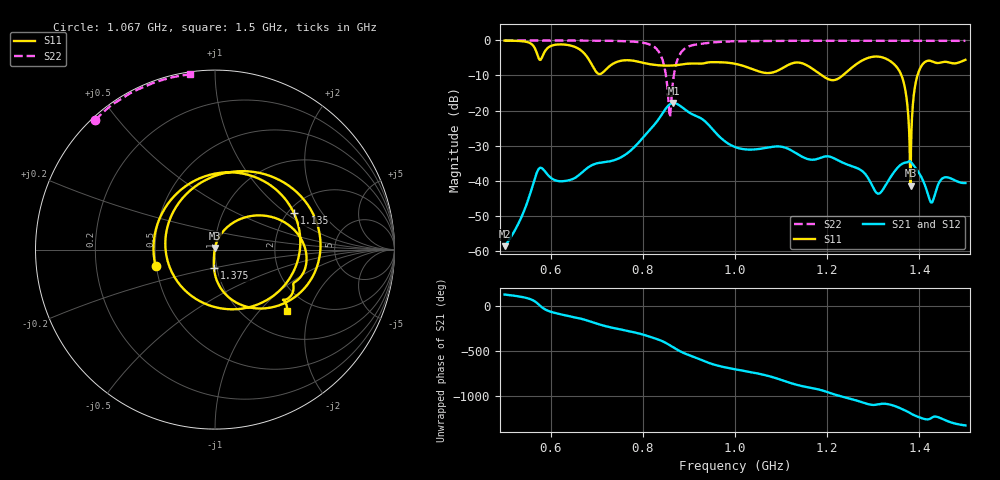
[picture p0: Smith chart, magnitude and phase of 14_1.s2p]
! TOUCHSTONE file generated by CST MICROWAVE STUDIO
! Date and time: Sat Nov 14 20:36:06 2020
! Project name: Scenario_1_Planar_Body_Tissue_Out_of_Line_v2.cst
! Parameters = {dy1=121.1; L_HA=400; Ltissue=700; MT=2.54; Rad_Dielectric=30; Rad_Lower=7.3; Rad_Upper=30; Wtissue=700; a_HA=580; a_WG=246; b_HA=500; b_WG=121; c_HA=0; c_WG=187; d_feed=85; dx1=173; h_feed=15; h_lower=18; h_upper=40; hfat=3; hgap=25; hmuscle=50; hskin=1.5}
! Header version: 2018
! Port assignment regex: !\s*Touchstone port\s*([0-9]+)\s*=\s*(CST MWS port|CST DS port)\s*([0-9]+|Zmin|Zmax)\s*\(\"(.*)\"\)(\s*mode\s*([0-9]+))?.*
! Touchstone port assignment:
! Touchstone port 1 = CST MWS port 1 ("")
! Touchstone port 2 = CST MWS port 2 ("")
# GHz S DB R 50
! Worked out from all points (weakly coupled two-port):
!   1003 points, 500 MHz to 1.5 GHz, reference 50 ohm
!   highest |S21| = -17.86 dB at 866.5 MHz (marker M1); lowest = -58.7 dB at 500 MHz (marker M2)
!   lowest |S11| = -41.4 dB at 1.381 GHz (marker M3), VSWR 1.02, Z = 50 + j0.849 ohm
!   |S11| at or under -10 dB: 1.189 GHz to 1.234 GHz (45.09 MHz wide, 3.72 % of centre); 1.361 GHz to 1.396 GHz (34.62 MHz wide, 2.51 % of centre)
!   |S22| runs from -21.9 to 0.0 dB; largest |S21 - S12| = 1.2e-05
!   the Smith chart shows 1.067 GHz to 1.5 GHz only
!   S11 on the Smith chart (normalised r, x): 1.067 GHz: 0.50, -0.10; 1.135 GHz: 2.16, +1.14; 1.375 GHz: 0.97, -0.20; 1.5 GHz: 1.52, -1.44
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0.5  -0.05 -121.8  -58.71 129.5  -58.71 129.5  -0.01 151.2
0.575  -5.35 -163.3  -36.53 14.8  -36.53 14.8  -0.02 146.0
0.628  -1.17 172.0  -40.16 -97.0  -40.16 -97.0  -0.03 141.9
0.667  -2.96 110.0  -37.79 -140.0  -37.79 -140.0  -0.05 138.4
0.693  -7.79 25.7  -35.39 178.8  -35.39 178.8  -0.06 135.7
0.718  -8.54 -95.7  -34.71 140.7  -34.71 140.7  -0.09 132.6
0.759  -5.68 165.1  -32.86 95.0  -32.86 95.0  -0.21 125.8
0.834  -7.09 21.8  -22.52 -10.1  -22.52 -10.1  -3.11 84.4
0.8665  -7.13 -63.3  -17.86 -97.8  -17.86 -97.8  -10.64 -137.7
0.905  -6.59 -172.7  -20.91 168.8  -20.91 168.8  -1.46 164.4
0.943  -6.24 92.9  -24.13 92.5  -24.13 92.5  -0.69 150.9
1  -6.66 -25.4  -30.41 21.3  -30.41 21.3  -0.24 140.4
1.067  -9.28 -164.6  -30.67 -45.6  -30.67 -45.6  -0.16 132.8
1.135  -6.29 24.7  -32.38 -152.1  -32.38 -152.1  -0.10 126.8
1.167  -7.99 -46.4  -34.04 173.3  -34.04 173.3  -0.09 124.2
1.219  -11.19 179.4  -33.89 97.5  -33.89 97.5  -0.09 120.3
1.264  -6.71 71.2  -36.38 35.2  -36.38 35.2  -0.08 116.8
1.334  -5.65 -29.6  -39.76 -7.0  -39.76 -7.0  -0.09 111.6
1.375  -19.80 -93.1  -34.71 -89.0  -34.70 -89.0  -0.09 108.4
1.381  -41.41 92.1  -34.61 -107.4  -34.61 -107.4  -0.09 107.9
1.407  -6.83 13.8  -39.70 -163.2  -39.70 -163.2  -0.09 105.9
1.5  -5.54 -40.4  -40.71 119.1  -40.71 119.1  -0.12 98.0
